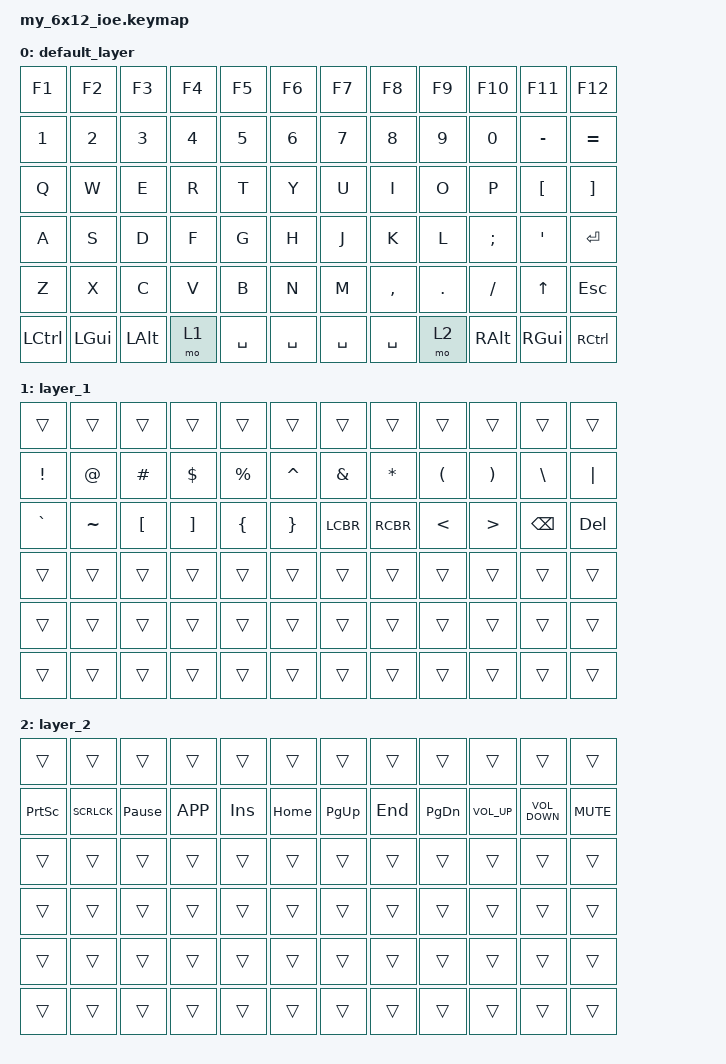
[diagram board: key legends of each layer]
#include <dt-bindings/zmk/keys.h>        // キーコードの定義
#include <dt-bindings/zmk/behaviors.h>   // レイヤー切り替えなどの動作

/ {
    keymap {
        compatible = "zmk,keymap";

        default_layer {
            // ベースレイヤー (Layer 0)
            // 6行12列のキーマップを想定。実際の物理キーボードに合わせて調整してください。
            bindings = <
                &kp F1      &kp F2      &kp F3      &kp F4      &kp F5      &kp F6      &kp F7      &kp F8      &kp F9      &kp F10     &kp F11     &kp F12     // Row 0
                &kp N1      &kp N2      &kp N3      &kp N4      &kp N5      &kp N6      &kp N7      &kp N8      &kp N9      &kp N0      &kp MINUS   &kp EQUAL   // Row 1
                &kp Q       &kp W       &kp E       &kp R       &kp T       &kp Y       &kp U       &kp I       &kp O       &kp P       &kp LBKT    &kp RBKT    // Row 2
                &kp A       &kp S       &kp D       &kp F       &kp G       &kp H       &kp J       &kp K       &kp L       &kp SEMI    &kp SQT     &kp ENTER   // Row 3
                &kp Z       &kp X       &kp C       &kp V       &kp B       &kp N       &kp M       &kp COMMA   &kp DOT     &kp SLASH   &kp UP      &kp ESC     // Row 4
                &kp LCTRL   &kp LGUI    &kp LALT    &mo 1       &kp SPACE   &kp SPACE   &kp SPACE   &kp SPACE   &mo 2       &kp RALT    &kp RGUI    &kp RCTRL   // Row 5
            >;
        };

        layer_1 {
            // レイヤー 1 (モディファイア、記号など)
            // default_layer の &mo 1 で切り替わる
            bindings = <
                &trans      &trans      &trans      &trans      &trans      &trans      &trans      &trans      &trans      &trans      &trans      &trans      // Row 0 (Fキー部分は透過)
                &kp EXCL    &kp AT      &kp HASH    &kp DLLR    &kp PRCNT   &kp CARET   &kp AMPS    &kp ASTRK   &kp LPAR    &kp RPAR    &kp BSLH    &kp PIPE    // Row 1
                &kp GRAVE   &kp TILDE   &kp LEFT_BRACKET &kp RIGHT_BRACKET &kp LBRC    &kp RBRC    &kp LCBR    &kp RCBR    &kp LT      &kp GT      &kp BSPC    &kp DEL     // Row 2
                &trans      &trans      &trans      &trans      &trans      &trans      &trans      &trans      &trans      &trans      &trans      &trans      // Row 3
                &trans      &trans      &trans      &trans      &trans      &trans      &trans      &trans      &trans      &trans      &trans      &trans      // Row 4
                &trans      &trans      &trans      &trans      &trans      &trans      &trans      &trans      &trans      &trans      &trans      &trans      // Row 5
            >;
        };

        layer_2 {
            // レイヤー 2 (ファンクションキー、メディアキーなど)
            // default_layer の &mo 2 で切り替わる
            bindings = <
                &trans      &trans      &trans      &trans      &trans      &trans      &trans      &trans      &trans      &trans      &trans      &trans      // Row 0 (Fキー部分は透過)
                &kp PSCRN   &kp SCRLCK  &kp PAUSE_BREAK &kp K_APP   &kp INSERT  &kp HOME    &kp PG_UP   &kp END     &kp PG_DN   &kp K_VOLUME_UP &kp K_VOLUME_DOWN &kp K_MUTE // Row 1
                &trans      &trans      &trans      &trans      &trans      &trans      &trans      &trans      &trans      &trans      &trans      &trans      // Row 2
                &trans      &trans      &trans      &trans      &trans      &trans      &trans      &trans      &trans      &trans      &trans      &trans      // Row 3
                &trans      &trans      &trans      &trans      &trans      &trans      &trans      &trans      &trans      &trans      &trans      &trans      // Row 4
                &trans      &trans      &trans      &trans      &trans      &trans      &trans      &trans      &trans      &trans      &trans      &trans      // Row 5
            >;
        };
    }; // end of keymap

    // ---
    // エンコーダーのアクション定義は behaviors ノードの中に配置します。
    // このノードは / の直下に置きます。
    behaviors {
        // 例1: 音量調整
        enc_vol_down: enc_vol_down {
            bindings = <&kp K_VOL_DN>; // 音量ダウン
        };

        enc_vol_up: enc_vol_up {
            bindings = <&kp K_VOL_UP>; // 音量アップ
        };

        // 例2: スクロール
        enc_scroll_down: enc_scroll_down {
            bindings = <&kp PG_DN>; // ページダウン (下スクロール)
        };

        enc_scroll_up: enc_scroll_up {
            bindings = <&kp PG_UP>; // ページアップ (上スクロール)
        };

        // 例3: メディアトラック変更 (Spotify, YouTube など)
        enc_next_track: enc_next_track {
            bindings = <&kp C_NEXT>; // 次のトラック
        };

        enc_prev_track: enc_prev_track {
            bindings = <&kp C_PREV>; // 前のトラック
        };

        // 例4: カーソル移動 (左右)
        enc_left: enc_left {
            bindings = <&kp LEFT>; // 左移動
        };

        enc_right: enc_right {
            bindings = <&kp RIGHT>; // 右移動
        };

        // ここにエンコーダーのクリック動作があれば定義します（オプション）
        // 例: エンコーダー1のクリックでミュート
        enc_1_mute: enc_1_mute {
            bindings = <&kp K_MUTE>;
        };
    }; // end of behaviors

    // ---
    // エンコーダーの回転動作とレイヤーのマッピングは layers ノードの中に配置します。
    // このノードも / の直下に置きます。
    layers {
        // Layer 0 (デフォルトレイヤー)
        default_layer {
            encoder-map = <
                // エンコーダー 0 (overlayファイルで定義した最初のエンコーダー)
                // 時計回りアクション   反時計回りアクション
                &enc_vol_up             &enc_vol_down

                // エンコーダー 1 (overlayファイルで定義した2番目のエンコーダー)
                // 時計回りアクション   反時計回りアクション
                &enc_right              &enc_left
            >;
        };

        // Layer 1 (モディファイア、記号など)
        layer_1 {
            encoder-map = <
                // エンコーダー 0 (Layer 1 ではスクロールに割り当てる)
                &enc_scroll_up          &enc_scroll_down

                // エンコーダー 1 (Layer 1 ではメディアトラック変更に割り当てる)
                &enc_next_track         &enc_prev_track
            >;
        };

        // Layer 2 (ファンクションキー、メディアキーなど)
        layer_2 {
            encoder-map = <
                // エンコーダー 0 (Layer 2 ではカーソル上下に割り当てる)
                &kp UP                  &kp DOWN

                // エンコーダー 1 (Layer 2 では別の音量調整)
                &enc_vol_up             &enc_vol_down
            >;
        };
        // ... 他のレイヤーも同様に定義 ...
    }; // end of layers
}; // end of /
